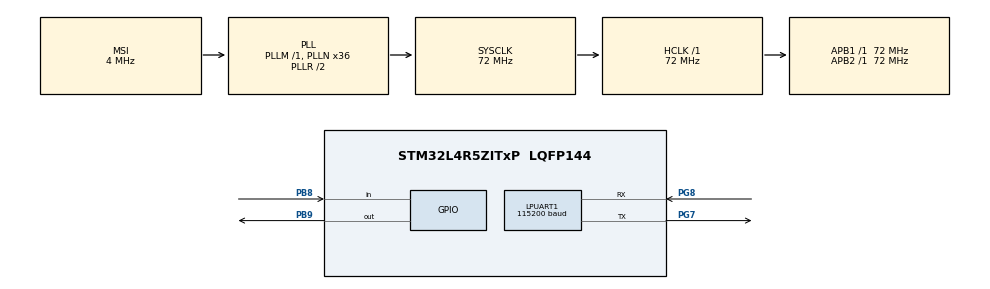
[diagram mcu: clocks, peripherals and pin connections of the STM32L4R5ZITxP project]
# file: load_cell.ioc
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LPUART1.BaudRate=115200
LPUART1.WordLength=UART_WORDLENGTH_8B
Mcu.Family=STM32L4
Mcu.Name=STM32L4R5ZITxP
Mcu.Package=LQFP144
NVIC.PriorityGroup=NVIC_PRIORITYGROUP_4
PA0.Signal=S_TIM2_CH1
PA1.Signal=ADCx_IN6
PA10.Signal=USB_OTG_FS_ID
PA13\ (JTMS/SWDIO).Mode=Serial_Wire
PA13\ (JTMS/SWDIO).Signal=SYS_JTMS-SWDIO
PA14\ (JTCK/SWCLK).Mode=Serial_Wire
PA14\ (JTCK/SWCLK).Signal=SYS_JTCK-SWCLK
PA3.Signal=ADCx_IN8
PA4.Signal=SPI1_NSS
PA5.Signal=SPI1_SCK
PA6.Signal=SPI1_MISO
PA7.Signal=SPI1_MOSI
PA8.Signal=USB_OTG_FS_SOF
PA9.Signal=USB_OTG_FS_VBUS
PB0.Signal=S_TIM3_CH3
PB1.Signal=ADCx_IN16
PB10.Signal=S_TIM2_CH3
PB12.Signal=SAI2_FS_A
PB13.Signal=SAI2_SCK_A
PB14.Signal=S_TIM15_CH1
PB15.Signal=SAI2_SD_A
PB2.Signal=COMP1_INP
PB3\ (JTDO/TRACESWO).Signal=SPI3_SCK
PB4\ (NJTRST).Signal=SPI3_MISO
PB5.Signal=SPI3_MOSI
PB6.Signal=COMP2_INP
PB8.Signal=GPIO_Input
PB9.Signal=GPIO_Output
PC0.Signal=ADCx_IN1
PC1.Signal=ADCx_IN2
PC10.Signal=SDMMC1_D2
PC11.Signal=SDMMC1_D3
PC12.Signal=SDMMC1_CK
PC13.Signal=SYS_WKUP2
PC14-OSC32_IN\ (PC14).Signal=RCC_OSC32_IN
PC15-OSC32_OUT\ (PC15).Signal=RCC_OSC32_OUT
PC2.Signal=ADCx_IN3
PC3.Signal=ADCx_IN4
PC4.Signal=ADCx_IN13
PC5.Signal=ADCx_IN14
PC6.Signal=SAI2_MCLK_A
PC7.Signal=S_TIM3_CH2
PC8.Signal=SDMMC1_D0
PC9.Signal=SDMMC1_D1
PD0.Signal=CAN1_RX
PD14.Signal=S_TIM4_CH3
PD15.Signal=S_TIM4_CH4
PD2.Signal=SDMMC1_CMD
PD3.Signal=USART2_CTS
PD4.Signal=USART2_RTS
PD5.Signal=USART2_TX
PD6.Signal=USART2_RX
PD8.Signal=USART3_TX
PD9.Signal=USART3_RX
PE0.Signal=S_TIM4_ETR
PE10.Signal=TIM1_CH2N
PE11.Signal=S_TIM1_CH2
PE12.Signal=TIM1_CH3N
PE13.Signal=S_TIM1_CH3
PE14.Signal=TIM1_BKIN2
PE15.Signal=TIM1_BKIN
PE2.Signal=SAI1_MCLK_A
PE3.Signal=SAI1_SD_B
PE7.Signal=S_TIM1_ETR
PE8.Signal=TIM1_CH1N
PE9.Signal=S_TIM1_CH1
PF0.Signal=I2C2_SDA
PF1.Signal=I2C2_SCL
PF2.Signal=I2C2_SMBA
PF7.Signal=SAI1_MCLK_B
PG7.Mode=Asynchronous
PG7.Signal=LPUART1_TX
PG8.Mode=Asynchronous
PG8.Signal=LPUART1_RX
PH0-OSC_IN\ (PH0).Mode=HSE-External-Oscillator
PH0-OSC_IN\ (PH0).Signal=RCC_OSC_IN
PH1-OSC_OUT\ (PH1).Mode=HSE-External-Oscillator
PH1-OSC_OUT\ (PH1).Signal=RCC_OSC_OUT
ProjectManager.HeapSize=0x200
ProjectManager.StackSize=0x400
ProjectManager.TargetToolchain=STM32CubeIDE
RCC.AHBFreq_Value=72000000
RCC.APB1Freq_Value=72000000
RCC.APB1TimFreq_Value=72000000
RCC.APB2Freq_Value=72000000
RCC.APB2TimFreq_Value=72000000
RCC.CortexFreq_Value=72000000
RCC.HCLKFreq_Value=72000000
RCC.HSE_VALUE=8000000
RCC.HSI48_VALUE=48000000
RCC.HSI_VALUE=16000000
RCC.LSE_VALUE=32768
RCC.MSI_VALUE=4000000
RCC.PLLN=36
RCC.SYSCLKFreq_VALUE=72000000
RCC.SYSCLKSource=RCC_SYSCLKSOURCE_PLLCLK
RCC.VCOOutputFreq_Value=144000000
SH.ADCx_IN1.0=ADC1_IN1
SH.ADCx_IN13.0=ADC1_IN13
SH.ADCx_IN14.0=ADC1_IN14
SH.ADCx_IN16.0=ADC1_IN16
SH.ADCx_IN2.0=ADC1_IN2
SH.ADCx_IN3.0=ADC1_IN3
SH.ADCx_IN4.0=ADC1_IN4
SH.ADCx_IN6.0=ADC1_IN6
SH.ADCx_IN8.0=ADC1_IN8
SH.S_TIM15_CH1.0=TIM15_CH1
SH.S_TIM1_CH1.0=TIM1_CH1
SH.S_TIM1_CH2.0=TIM1_CH2
SH.S_TIM1_CH3.0=TIM1_CH3
SH.S_TIM1_ETR.0=TIM1_ETR
SH.S_TIM2_CH1.0=TIM2_CH1
SH.S_TIM2_CH3.0=TIM2_CH3
SH.S_TIM3_CH2.0=TIM3_CH2
SH.S_TIM3_CH3.0=TIM3_CH3
SH.S_TIM4_CH3.0=TIM4_CH3
SH.S_TIM4_CH4.0=TIM4_CH4
SH.S_TIM4_ETR.0=TIM4_ETR
TIM2.Period=65535
TIM2.Prescaler=71
VP_TIM2_VS_ClockSourceINT.Mode=Internal
board=NUCLEO-L4R5ZI-P

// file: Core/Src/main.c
/* USER CODE BEGIN Header */
/**
  ******************************************************************************
  * @file           : main.c
  * @brief          : Main program body
  ******************************************************************************
  * @attention
  *
  * Copyright (c) 2024 STMicroelectronics.
  * All rights reserved.
  *
  * This software is licensed under terms that can be found in the LICENSE file
  * in the root directory of this software component.
  * If no LICENSE file comes with this software, it is provided AS-IS.
  *
  ******************************************************************************
  */
/* USER CODE END Header */
#include "main.h"

UART_HandleTypeDef hlpuart1;

TIM_HandleTypeDef htim2;

void SystemClock_Config(void);
static void MX_GPIO_Init(void);
static void MX_LPUART1_UART_Init(void);
static void MX_TIM2_Init(void);

/* USER CODE BEGIN 0 */
#define DT_PIN GPIO_PIN_8
#define DT_PORT GPIOB
#define SCK_PIN GPIO_PIN_9
#define SCK_PORT GPIOB

uint32_t tare = 8482978;
float knownOriginal = 1;  // in milli gram
float knownHX711 = 1;
int weight;

void microDelay(uint16_t delay)
{
  __HAL_TIM_SET_COUNTER(&htim2, 0);
  while (__HAL_TIM_GET_COUNTER(&htim2) < delay);
}

int32_t getHX711(void)
{
  uint32_t data = 0;
  uint32_t startTime = HAL_GetTick();
  while(HAL_GPIO_ReadPin(DT_PORT, DT_PIN) == GPIO_PIN_SET)
  {
    if(HAL_GetTick() - startTime > 200)
      return 0;
  }
  for(int8_t len=0; len<24 ; len++)
  {
    HAL_GPIO_WritePin(SCK_PORT, SCK_PIN, GPIO_PIN_SET);
    microDelay(1);
    data = data << 1;
    HAL_GPIO_WritePin(SCK_PORT, SCK_PIN, GPIO_PIN_RESET);
    microDelay(1);
    if(HAL_GPIO_ReadPin(DT_PORT, DT_PIN) == GPIO_PIN_SET)
      data ++;
  }
  data = data ^ 0x800000;
  HAL_GPIO_WritePin(SCK_PORT, SCK_PIN, GPIO_PIN_SET);
  microDelay(1);
  HAL_GPIO_WritePin(SCK_PORT, SCK_PIN, GPIO_PIN_RESET);
  microDelay(1);
  return data;
}

int weigh()
{
  int32_t  total = 0;
  int32_t  samples = 50;
  int milligram;
  float coefficient;
  for(uint16_t i=0 ; i<samples ; i++)
  {
      total += getHX711();
  }
  int32_t average = (int32_t)(total / samples);
  coefficient = knownOriginal / knownHX711;
  milligram = (int)(average-tare)*coefficient;
  return milligram;
}
/* USER CODE END 0 */

int main(void)
{

  /* MCU Configuration--------------------------------------------------------*/

  /* Reset of all peripherals, Initializes the Flash interface and the Systick. */
  HAL_Init();

  /* Configure the system clock */
  SystemClock_Config();

  /* Initialize all configured peripherals */
  MX_GPIO_Init();
  MX_LPUART1_UART_Init();
  MX_TIM2_Init();
  /* USER CODE BEGIN 2 */
  HAL_TIM_Base_Start(&htim2);
   HAL_GPIO_WritePin(SCK_PORT, SCK_PIN, GPIO_PIN_SET);
   HAL_Delay(10);
   HAL_GPIO_WritePin(SCK_PORT, SCK_PIN, GPIO_PIN_RESET);
   HAL_Delay(10);

  /* USER CODE END 2 */

  /* Infinite loop */
  /* USER CODE BEGIN WHILE */
  while (1)
  {
	  weight = weigh(); // in milligram
	  weight = 1;
    /* USER CODE END WHILE */

  }
}

void SystemClock_Config(void)
{
  RCC_OscInitTypeDef RCC_OscInitStruct = {0};
  RCC_ClkInitTypeDef RCC_ClkInitStruct = {0};

  /** Configure the main internal regulator output voltage
  */
  if (HAL_PWREx_ControlVoltageScaling(PWR_REGULATOR_VOLTAGE_SCALE1) != HAL_OK)
  {
    Error_Handler();
  }

  /** Initializes the RCC Oscillators according to the specified parameters
  * in the RCC_OscInitTypeDef structure.
  */
  RCC_OscInitStruct.OscillatorType = RCC_OSCILLATORTYPE_MSI;
  RCC_OscInitStruct.MSIState = RCC_MSI_ON;
  RCC_OscInitStruct.MSICalibrationValue = 0;
  RCC_OscInitStruct.MSIClockRange = RCC_MSIRANGE_6;
  RCC_OscInitStruct.PLL.PLLState = RCC_PLL_ON;
  RCC_OscInitStruct.PLL.PLLSource = RCC_PLLSOURCE_MSI;
  RCC_OscInitStruct.PLL.PLLM = 1;
  RCC_OscInitStruct.PLL.PLLN = 36;
  RCC_OscInitStruct.PLL.PLLP = RCC_PLLP_DIV2;
  RCC_OscInitStruct.PLL.PLLQ = RCC_PLLQ_DIV2;
  RCC_OscInitStruct.PLL.PLLR = RCC_PLLR_DIV2;
  if (HAL_RCC_OscConfig(&RCC_OscInitStruct) != HAL_OK)
  {
    Error_Handler();
  }

  /** Initializes the CPU, AHB and APB buses clocks
  */
  RCC_ClkInitStruct.ClockType = RCC_CLOCKTYPE_HCLK|RCC_CLOCKTYPE_SYSCLK
                              |RCC_CLOCKTYPE_PCLK1|RCC_CLOCKTYPE_PCLK2;
  RCC_ClkInitStruct.SYSCLKSource = RCC_SYSCLKSOURCE_PLLCLK;
  RCC_ClkInitStruct.AHBCLKDivider = RCC_SYSCLK_DIV1;
  RCC_ClkInitStruct.APB1CLKDivider = RCC_HCLK_DIV1;
  RCC_ClkInitStruct.APB2CLKDivider = RCC_HCLK_DIV1;

  if (HAL_RCC_ClockConfig(&RCC_ClkInitStruct, FLASH_LATENCY_3) != HAL_OK)
  {
    Error_Handler();
  }
}

static void MX_LPUART1_UART_Init(void)
{

  hlpuart1.Instance = LPUART1;
  hlpuart1.Init.BaudRate = 115200;
  hlpuart1.Init.WordLength = UART_WORDLENGTH_8B;
  hlpuart1.Init.StopBits = UART_STOPBITS_1;
  hlpuart1.Init.Parity = UART_PARITY_NONE;
  hlpuart1.Init.Mode = UART_MODE_TX_RX;
  hlpuart1.Init.HwFlowCtl = UART_HWCONTROL_NONE;
  hlpuart1.Init.OneBitSampling = UART_ONE_BIT_SAMPLE_DISABLE;
  hlpuart1.Init.ClockPrescaler = UART_PRESCALER_DIV1;
  hlpuart1.AdvancedInit.AdvFeatureInit = UART_ADVFEATURE_NO_INIT;
  hlpuart1.FifoMode = UART_FIFOMODE_DISABLE;
  if (HAL_UART_Init(&hlpuart1) != HAL_OK)
  {
    Error_Handler();
  }
  if (HAL_UARTEx_SetTxFifoThreshold(&hlpuart1, UART_TXFIFO_THRESHOLD_1_8) != HAL_OK)
  {
    Error_Handler();
  }
  if (HAL_UARTEx_SetRxFifoThreshold(&hlpuart1, UART_RXFIFO_THRESHOLD_1_8) != HAL_OK)
  {
    Error_Handler();
  }
  if (HAL_UARTEx_DisableFifoMode(&hlpuart1) != HAL_OK)
  {
    Error_Handler();
  }

}

static void MX_TIM2_Init(void)
{

  TIM_ClockConfigTypeDef sClockSourceConfig = {0};
  TIM_MasterConfigTypeDef sMasterConfig = {0};

  htim2.Instance = TIM2;
  htim2.Init.Prescaler = 71;
  htim2.Init.CounterMode = TIM_COUNTERMODE_UP;
  htim2.Init.Period = 65535;
  htim2.Init.ClockDivision = TIM_CLOCKDIVISION_DIV1;
  htim2.Init.AutoReloadPreload = TIM_AUTORELOAD_PRELOAD_DISABLE;
  if (HAL_TIM_Base_Init(&htim2) != HAL_OK)
  {
    Error_Handler();
  }
  sClockSourceConfig.ClockSource = TIM_CLOCKSOURCE_INTERNAL;
  if (HAL_TIM_ConfigClockSource(&htim2, &sClockSourceConfig) != HAL_OK)
  {
    Error_Handler();
  }
  sMasterConfig.MasterOutputTrigger = TIM_TRGO_RESET;
  sMasterConfig.MasterSlaveMode = TIM_MASTERSLAVEMODE_DISABLE;
  if (HAL_TIMEx_MasterConfigSynchronization(&htim2, &sMasterConfig) != HAL_OK)
  {
    Error_Handler();
  }

}

static void MX_GPIO_Init(void)
{
  GPIO_InitTypeDef GPIO_InitStruct = {0};

  /* GPIO Ports Clock Enable */
  __HAL_RCC_GPIOE_CLK_ENABLE();
  __HAL_RCC_GPIOC_CLK_ENABLE();
  __HAL_RCC_GPIOF_CLK_ENABLE();
  __HAL_RCC_GPIOH_CLK_ENABLE();
  __HAL_RCC_GPIOA_CLK_ENABLE();
  __HAL_RCC_GPIOB_CLK_ENABLE();
  __HAL_RCC_GPIOD_CLK_ENABLE();
  __HAL_RCC_GPIOG_CLK_ENABLE();
  HAL_PWREx_EnableVddIO2();

  /*Configure GPIO pin Output Level */
  HAL_GPIO_WritePin(GPIOB, GPIO_PIN_9, GPIO_PIN_RESET);

  /*Configure GPIO pins : PE2 PE3 */
  GPIO_InitStruct.Pin = GPIO_PIN_2|GPIO_PIN_3;
  GPIO_InitStruct.Mode = GPIO_MODE_AF_PP;
  GPIO_InitStruct.Pull = GPIO_NOPULL;
  GPIO_InitStruct.Speed = GPIO_SPEED_FREQ_LOW;
  GPIO_InitStruct.Alternate = GPIO_AF13_SAI1;
  HAL_GPIO_Init(GPIOE, &GPIO_InitStruct);

  /*Configure GPIO pins : PF0 PF1 PF2 */
  GPIO_InitStruct.Pin = GPIO_PIN_0|GPIO_PIN_1|GPIO_PIN_2;
  GPIO_InitStruct.Mode = GPIO_MODE_AF_OD;
  GPIO_InitStruct.Pull = GPIO_NOPULL;
  GPIO_InitStruct.Speed = GPIO_SPEED_FREQ_VERY_HIGH;
  GPIO_InitStruct.Alternate = GPIO_AF4_I2C2;
  HAL_GPIO_Init(GPIOF, &GPIO_InitStruct);

  /*Configure GPIO pin : PF7 */
  GPIO_InitStruct.Pin = GPIO_PIN_7;
  GPIO_InitStruct.Mode = GPIO_MODE_AF_PP;
  GPIO_InitStruct.Pull = GPIO_NOPULL;
  GPIO_InitStruct.Speed = GPIO_SPEED_FREQ_LOW;
  GPIO_InitStruct.Alternate = GPIO_AF13_SAI1;
  HAL_GPIO_Init(GPIOF, &GPIO_InitStruct);

  /*Configure GPIO pins : PC0 PC1 PC2 PC3
                           PC4 PC5 */
  GPIO_InitStruct.Pin = GPIO_PIN_0|GPIO_PIN_1|GPIO_PIN_2|GPIO_PIN_3
                          |GPIO_PIN_4|GPIO_PIN_5;
  GPIO_InitStruct.Mode = GPIO_MODE_ANALOG_ADC_CONTROL;
  GPIO_InitStruct.Pull = GPIO_NOPULL;
  HAL_GPIO_Init(GPIOC, &GPIO_InitStruct);

  /*Configure GPIO pins : PA1 PA3 */
  GPIO_InitStruct.Pin = GPIO_PIN_1|GPIO_PIN_3;
  GPIO_InitStruct.Mode = GPIO_MODE_ANALOG_ADC_CONTROL;
  GPIO_InitStruct.Pull = GPIO_NOPULL;
  HAL_GPIO_Init(GPIOA, &GPIO_InitStruct);

  /*Configure GPIO pins : PA4 PA5 PA6 PA7 */
  GPIO_InitStruct.Pin = GPIO_PIN_4|GPIO_PIN_5|GPIO_PIN_6|GPIO_PIN_7;
  GPIO_InitStruct.Mode = GPIO_MODE_AF_PP;
  GPIO_InitStruct.Pull = GPIO_NOPULL;
  GPIO_InitStruct.Speed = GPIO_SPEED_FREQ_VERY_HIGH;
  GPIO_InitStruct.Alternate = GPIO_AF5_SPI1;
  HAL_GPIO_Init(GPIOA, &GPIO_InitStruct);

  /*Configure GPIO pin : PB0 */
  GPIO_InitStruct.Pin = GPIO_PIN_0;
  GPIO_InitStruct.Mode = GPIO_MODE_AF_PP;
  GPIO_InitStruct.Pull = GPIO_NOPULL;
  GPIO_InitStruct.Speed = GPIO_SPEED_FREQ_LOW;
  GPIO_InitStruct.Alternate = GPIO_AF2_TIM3;
  HAL_GPIO_Init(GPIOB, &GPIO_InitStruct);

  /*Configure GPIO pin : PB1 */
  GPIO_InitStruct.Pin = GPIO_PIN_1;
  GPIO_InitStruct.Mode = GPIO_MODE_ANALOG_ADC_CONTROL;
  GPIO_InitStruct.Pull = GPIO_NOPULL;
  HAL_GPIO_Init(GPIOB, &GPIO_InitStruct);

  /*Configure GPIO pins : PB2 PB6 */
  GPIO_InitStruct.Pin = GPIO_PIN_2|GPIO_PIN_6;
  GPIO_InitStruct.Mode = GPIO_MODE_ANALOG;
  GPIO_InitStruct.Pull = GPIO_NOPULL;
  HAL_GPIO_Init(GPIOB, &GPIO_InitStruct);

  /*Configure GPIO pins : PE7 PE8 PE9 PE10
                           PE11 PE12 PE13 */
  GPIO_InitStruct.Pin = GPIO_PIN_7|GPIO_PIN_8|GPIO_PIN_9|GPIO_PIN_10
                          |GPIO_PIN_11|GPIO_PIN_12|GPIO_PIN_13;
  GPIO_InitStruct.Mode = GPIO_MODE_AF_PP;
  GPIO_InitStruct.Pull = GPIO_NOPULL;
  GPIO_InitStruct.Speed = GPIO_SPEED_FREQ_LOW;
  GPIO_InitStruct.Alternate = GPIO_AF1_TIM1;
  HAL_GPIO_Init(GPIOE, &GPIO_InitStruct);

  /*Configure GPIO pins : PE14 PE15 */
  GPIO_InitStruct.Pin = GPIO_PIN_14|GPIO_PIN_15;
  GPIO_InitStruct.Mode = GPIO_MODE_AF_PP;
  GPIO_InitStruct.Pull = GPIO_NOPULL;
  GPIO_InitStruct.Speed = GPIO_SPEED_FREQ_LOW;
  GPIO_InitStruct.Alternate = GPIO_AF3_TIM1_COMP1;
  HAL_GPIO_Init(GPIOE, &GPIO_InitStruct);

  /*Configure GPIO pins : PB12 PB13 PB15 */
  GPIO_InitStruct.Pin = GPIO_PIN_12|GPIO_PIN_13|GPIO_PIN_15;
  GPIO_InitStruct.Mode = GPIO_MODE_AF_PP;
  GPIO_InitStruct.Pull = GPIO_NOPULL;
  GPIO_InitStruct.Speed = GPIO_SPEED_FREQ_LOW;
  GPIO_InitStruct.Alternate = GPIO_AF13_SAI2;
  HAL_GPIO_Init(GPIOB, &GPIO_InitStruct);

  /*Configure GPIO pin : PB14 */
  GPIO_InitStruct.Pin = GPIO_PIN_14;
  GPIO_InitStruct.Mode = GPIO_MODE_AF_PP;
  GPIO_InitStruct.Pull = GPIO_NOPULL;
  GPIO_InitStruct.Speed = GPIO_SPEED_FREQ_LOW;
  GPIO_InitStruct.Alternate = GPIO_AF14_TIM15;
  HAL_GPIO_Init(GPIOB, &GPIO_InitStruct);

  /*Configure GPIO pins : PD8 PD9 */
  GPIO_InitStruct.Pin = GPIO_PIN_8|GPIO_PIN_9;
  GPIO_InitStruct.Mode = GPIO_MODE_AF_PP;
  GPIO_InitStruct.Pull = GPIO_NOPULL;
  GPIO_InitStruct.Speed = GPIO_SPEED_FREQ_VERY_HIGH;
  GPIO_InitStruct.Alternate = GPIO_AF7_USART3;
  HAL_GPIO_Init(GPIOD, &GPIO_InitStruct);

  /*Configure GPIO pins : PD14 PD15 */
  GPIO_InitStruct.Pin = GPIO_PIN_14|GPIO_PIN_15;
  GPIO_InitStruct.Mode = GPIO_MODE_AF_PP;
  GPIO_InitStruct.Pull = GPIO_NOPULL;
  GPIO_InitStruct.Speed = GPIO_SPEED_FREQ_LOW;
  GPIO_InitStruct.Alternate = GPIO_AF2_TIM4;
  HAL_GPIO_Init(GPIOD, &GPIO_InitStruct);

  /*Configure GPIO pin : PC6 */
  GPIO_InitStruct.Pin = GPIO_PIN_6;
  GPIO_InitStruct.Mode = GPIO_MODE_AF_PP;
  GPIO_InitStruct.Pull = GPIO_NOPULL;
  GPIO_InitStruct.Speed = GPIO_SPEED_FREQ_LOW;
  GPIO_InitStruct.Alternate = GPIO_AF13_SAI2;
  HAL_GPIO_Init(GPIOC, &GPIO_InitStruct);

  /*Configure GPIO pin : PC7 */
  GPIO_InitStruct.Pin = GPIO_PIN_7;
  GPIO_InitStruct.Mode = GPIO_MODE_AF_PP;
  GPIO_InitStruct.Pull = GPIO_NOPULL;
  GPIO_InitStruct.Speed = GPIO_SPEED_FREQ_LOW;
  GPIO_InitStruct.Alternate = GPIO_AF2_TIM3;
  HAL_GPIO_Init(GPIOC, &GPIO_InitStruct);

  /*Configure GPIO pins : PC8 PC9 PC10 PC11
                           PC12 */
  GPIO_InitStruct.Pin = GPIO_PIN_8|GPIO_PIN_9|GPIO_PIN_10|GPIO_PIN_11
                          |GPIO_PIN_12;
  GPIO_InitStruct.Mode = GPIO_MODE_AF_PP;
  GPIO_InitStruct.Pull = GPIO_NOPULL;
  GPIO_InitStruct.Speed = GPIO_SPEED_FREQ_VERY_HIGH;
  GPIO_InitStruct.Alternate = GPIO_AF12_SDMMC1;
  HAL_GPIO_Init(GPIOC, &GPIO_InitStruct);

  /*Configure GPIO pins : PA8 PA10 */
  GPIO_InitStruct.Pin = GPIO_PIN_8|GPIO_PIN_10;
  GPIO_InitStruct.Mode = GPIO_MODE_AF_PP;
  GPIO_InitStruct.Pull = GPIO_NOPULL;
  GPIO_InitStruct.Speed = GPIO_SPEED_FREQ_VERY_HIGH;
  GPIO_InitStruct.Alternate = GPIO_AF10_OTG_FS;
  HAL_GPIO_Init(GPIOA, &GPIO_InitStruct);

  /*Configure GPIO pin : PA9 */
  GPIO_InitStruct.Pin = GPIO_PIN_9;
  GPIO_InitStruct.Mode = GPIO_MODE_INPUT;
  GPIO_InitStruct.Pull = GPIO_NOPULL;
  HAL_GPIO_Init(GPIOA, &GPIO_InitStruct);

  /*Configure GPIO pin : PD0 */
  GPIO_InitStruct.Pin = GPIO_PIN_0;
  GPIO_InitStruct.Mode = GPIO_MODE_AF_PP;
  GPIO_InitStruct.Pull = GPIO_NOPULL;
  GPIO_InitStruct.Speed = GPIO_SPEED_FREQ_VERY_HIGH;
  GPIO_InitStruct.Alternate = GPIO_AF9_CAN1;
  HAL_GPIO_Init(GPIOD, &GPIO_InitStruct);

  /*Configure GPIO pin : PD2 */
  GPIO_InitStruct.Pin = GPIO_PIN_2;
  GPIO_InitStruct.Mode = GPIO_MODE_AF_PP;
  GPIO_InitStruct.Pull = GPIO_NOPULL;
  GPIO_InitStruct.Speed = GPIO_SPEED_FREQ_VERY_HIGH;
  GPIO_InitStruct.Alternate = GPIO_AF12_SDMMC1;
  HAL_GPIO_Init(GPIOD, &GPIO_InitStruct);

  /*Configure GPIO pins : PD3 PD4 PD5 PD6 */
  GPIO_InitStruct.Pin = GPIO_PIN_3|GPIO_PIN_4|GPIO_PIN_5|GPIO_PIN_6;
  GPIO_InitStruct.Mode = GPIO_MODE_AF_PP;
  GPIO_InitStruct.Pull = GPIO_NOPULL;
  GPIO_InitStruct.Speed = GPIO_SPEED_FREQ_VERY_HIGH;
  GPIO_InitStruct.Alternate = GPIO_AF7_USART2;
  HAL_GPIO_Init(GPIOD, &GPIO_InitStruct);

  /*Configure GPIO pins : PB3 PB4 PB5 */
  GPIO_InitStruct.Pin = GPIO_PIN_3|GPIO_PIN_4|GPIO_PIN_5;
  GPIO_InitStruct.Mode = GPIO_MODE_AF_PP;
  GPIO_InitStruct.Pull = GPIO_NOPULL;
  GPIO_InitStruct.Speed = GPIO_SPEED_FREQ_VERY_HIGH;
  GPIO_InitStruct.Alternate = GPIO_AF6_SPI3;
  HAL_GPIO_Init(GPIOB, &GPIO_InitStruct);

  /*Configure GPIO pin : PB8 */
  GPIO_InitStruct.Pin = GPIO_PIN_8;
  GPIO_InitStruct.Mode = GPIO_MODE_INPUT;
  GPIO_InitStruct.Pull = GPIO_NOPULL;
  HAL_GPIO_Init(GPIOB, &GPIO_InitStruct);

  /*Configure GPIO pin : PB9 */
  GPIO_InitStruct.Pin = GPIO_PIN_9;
  GPIO_InitStruct.Mode = GPIO_MODE_OUTPUT_PP;
  GPIO_InitStruct.Pull = GPIO_NOPULL;
  GPIO_InitStruct.Speed = GPIO_SPEED_FREQ_LOW;
  HAL_GPIO_Init(GPIOB, &GPIO_InitStruct);

  /*Configure GPIO pin : PE0 */
  GPIO_InitStruct.Pin = GPIO_PIN_0;
  GPIO_InitStruct.Mode = GPIO_MODE_AF_PP;
  GPIO_InitStruct.Pull = GPIO_NOPULL;
  GPIO_InitStruct.Speed = GPIO_SPEED_FREQ_LOW;
  GPIO_InitStruct.Alternate = GPIO_AF2_TIM4;
  HAL_GPIO_Init(GPIOE, &GPIO_InitStruct);

}

/* USER CODE BEGIN 4 */
#ifdef __GNUC__
#define PUTCHAR_PROTOTYPE int __io_putchar(int ch)
#else
  #define PUTCHAR_PROTOTYPE int fputc(int ch, FILE *f)
#endif /* __GNUC__ */
PUTCHAR_PROTOTYPE
{
  HAL_UART_Transmit(&hlpuart1, (uint8_t *)&ch, 1, 0xFFFF);
  return ch;
}

/* USER CODE END 4 */

void Error_Handler(void)
{
  __disable_irq();
  while (1)
  {
  }
}
